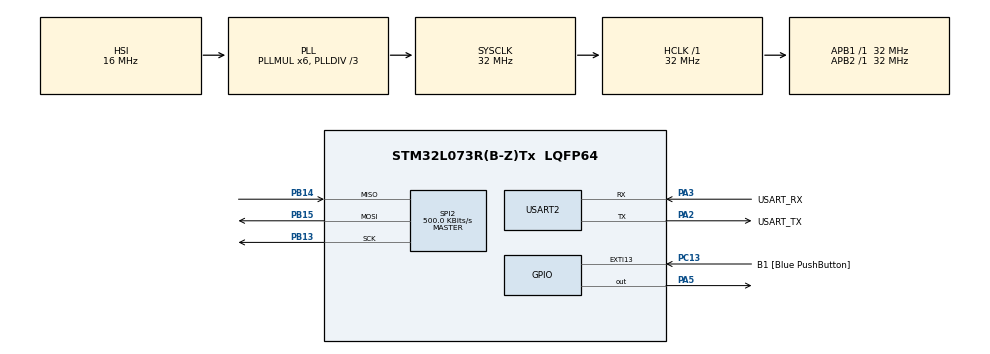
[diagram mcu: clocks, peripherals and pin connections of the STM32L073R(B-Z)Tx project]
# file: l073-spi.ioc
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Dma.Request0=SPI2_RX
Dma.Request1=SPI2_TX
Dma.SPI2_RX.0.Direction=DMA_PERIPH_TO_MEMORY
Dma.SPI2_RX.0.Instance=DMA1_Channel4
Dma.SPI2_RX.0.MemDataAlignment=DMA_MDATAALIGN_BYTE
Dma.SPI2_RX.0.MemInc=DMA_MINC_ENABLE
Dma.SPI2_RX.0.Mode=DMA_CIRCULAR
Dma.SPI2_RX.0.PeriphDataAlignment=DMA_PDATAALIGN_BYTE
Dma.SPI2_RX.0.PeriphInc=DMA_PINC_DISABLE
Dma.SPI2_RX.0.Priority=DMA_PRIORITY_LOW
Dma.SPI2_TX.1.Direction=DMA_MEMORY_TO_PERIPH
Dma.SPI2_TX.1.Instance=DMA1_Channel5
Dma.SPI2_TX.1.MemDataAlignment=DMA_MDATAALIGN_BYTE
Dma.SPI2_TX.1.MemInc=DMA_MINC_ENABLE
Dma.SPI2_TX.1.Mode=DMA_CIRCULAR
Dma.SPI2_TX.1.PeriphDataAlignment=DMA_PDATAALIGN_BYTE
Dma.SPI2_TX.1.PeriphInc=DMA_PINC_DISABLE
Dma.SPI2_TX.1.Priority=DMA_PRIORITY_LOW
Mcu.Family=STM32L0
Mcu.Name=STM32L073R(B-Z)Tx
Mcu.Package=LQFP64
NVIC.DMA1_Channel4_5_6_7_IRQn=true\:0\:0\:false\:false\:true\:false\:true
NVIC.SPI2_IRQn=true\:0\:0\:false\:false\:true\:true\:true
PA13.GPIO_Label=TMS
PA13.Mode=Serial_Wire
PA13.Signal=SYS_SWDIO
PA14.GPIO_Label=TCK
PA14.Mode=Serial_Wire
PA14.Signal=SYS_SWCLK
PA2.GPIO_Label=USART_TX
PA2.Mode=Asynchronous
PA2.Signal=USART2_TX
PA3.GPIO_Label=USART_RX
PA3.Mode=Asynchronous
PA3.Signal=USART2_RX
PA5.Signal=GPIO_Output
PB13.Mode=Full_Duplex_Master
PB13.Signal=SPI2_SCK
PB14.Mode=Full_Duplex_Master
PB14.Signal=SPI2_MISO
PB15.Mode=Full_Duplex_Master
PB15.Signal=SPI2_MOSI
PC13.GPIO_Label=B1 [Blue PushButton]
PC13.GPIO_ModeDefaultEXTI=GPIO_MODE_IT_FALLING
PC13.Signal=GPXTI13
PC14-OSC32_IN.Mode=LSE-External-Oscillator
PC14-OSC32_IN.Signal=RCC_OSC32_IN
PC15-OSC32_OUT.Mode=LSE-External-Oscillator
PC15-OSC32_OUT.Signal=RCC_OSC32_OUT
PH0-OSC_IN.GPIO_Label=MCO
PH0-OSC_IN.Mode=HSE-External-Clock-Source
PH0-OSC_IN.Signal=RCC_OSC_IN
ProjectManager.HeapSize=0x200
ProjectManager.StackSize=0x400
ProjectManager.TargetToolchain=STM32CubeIDE
RCC.AHBFreq_Value=32000000
RCC.APB1Freq_Value=32000000
RCC.APB1TimFreq_Value=32000000
RCC.APB2Freq_Value=32000000
RCC.APB2TimFreq_Value=32000000
RCC.CSICalibrationValue=16
RCC.HCLKFreq_Value=32000000
RCC.HSE_VALUE=8000000
RCC.HSI16_VALUE=16000000
RCC.HSI48_VALUE=48000000
RCC.HSI_VALUE=16000000
RCC.MSIAutoCalibration=DISABLED
RCC.MSI_VALUE=2097000
RCC.PLL1_VCI_Range=RCC_PLL1VCIRANGE_3
RCC.PLL1_VCO_SEL=RCC_PLL1VCOMEDIUM
RCC.PLL2FRACN=0
RCC.PLL2_VCI_Range=RCC_PLL2VCIRANGE_3
RCC.PLL2_VCO_SEL=RCC_PLL2VCOWIDE
RCC.PLL3FRACN=0
RCC.PLL3_VCI_Range=RCC_PLL3VCIRANGE_3
RCC.PLL3_VCO_SEL=RCC_PLL3VCOMEDIUM
RCC.PLLDIV=RCC_PLLDIV_3
RCC.PLLFRACN=0
RCC.PLLMUL=RCC_PLLMUL_6
RCC.ProductRev=revY
RCC.RCC_TIM_PRescaler_Selection=RCC_TIMPRES_DESACTIVATED
RCC.SYSCLKFreq_VALUE=32000000
RCC.SYSCLKSource=RCC_SYSCLKSOURCE_PLLCLK
RCC.VCOOutputFreq_Value=96000000
SPI2.BaudRatePrescaler=SPI_BAUDRATEPRESCALER_64
SPI2.CalculateBaudRate=500.0 KBits/s
SPI2.Direction=SPI_DIRECTION_2LINES
SPI2.Mode=SPI_MODE_MASTER
SPI2.VirtualType=VM_MASTER
USART2.VirtualMode-Asynchronous=VM_ASYNC
board=NUCLEO-L073RZ

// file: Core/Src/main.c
/* USER CODE BEGIN Header */
/**
 ******************************************************************************
 * @file           : main.c
 * @brief          : Main program body
 ******************************************************************************
 * @attention
 *
 * <h2><center>&copy; Copyright (c) 2021 STMicroelectronics.
 * All rights reserved.</center></h2>
 *
 * This software component is licensed by ST under BSD 3-Clause license,
 * the "License"; You may not use this file except in compliance with the
 * License. You may obtain a copy of the License at:
 *                        opensource.org/licenses/BSD-3-Clause
 *
 ******************************************************************************
 */
/* USER CODE END Header */
#include "main.h"

/* USER CODE BEGIN PD */

/* Size of buffer */
#define BUFFERSIZE                       (COUNTOF(aTxBuffer) - 1)

/* Exported macro ------------------------------------------------------------*/
#define COUNTOF(__BUFFER__)   (sizeof(__BUFFER__) / sizeof(*(__BUFFER__)))
/* Exported functions ------------------------------------------------------- */

enum {
	TRANSFER_WAIT,
	TRANSFER_COMPLETE,
	TRANSFER_ERROR
};

/* Uncomment this line to use the board as master, if not it is used as slave */

/*************************************************/
/*************************************************/
/*********** MASTER / SLAVE **********************/
/*************************************************/
/*************************************************/
/*************************************************/

//#define MASTER_BOARD

/* Size of buffer */
/* Buffer used for transmission */
uint8_t aTxBuffer[] = "****SPI - Two Boards communication based on Interrupt **** SPI Message ******** SPI Message ******** SPI Message ****";

/* Buffer used for reception */
uint8_t aRxBuffer[BUFFERSIZE];

/* transfer state */
__IO uint32_t wTransferState = TRANSFER_WAIT;

/* USER CODE END PD */

SPI_HandleTypeDef hspi2;
DMA_HandleTypeDef hdma_spi2_rx;
DMA_HandleTypeDef hdma_spi2_tx;

UART_HandleTypeDef huart2;

void SystemClock_Config(void);
static void MX_GPIO_Init(void);
static void MX_USART2_UART_Init(void);
static void MX_DMA_Init(void);
static void MX_SPI2_Init(void);
/* USER CODE BEGIN PFP */
static uint16_t Buffercmp(uint8_t *pBuffer1, uint8_t *pBuffer2, uint16_t BufferLength);

/* USER CODE END PFP */

/* USER CODE BEGIN 0 */
/**
 * @brief  Compares two buffers.
 * @param  pBuffer1, pBuffer2: buffers to be compared.
 * @param  BufferLength: buffer's length
 * @retval 0  : pBuffer1 identical to pBuffer2
 *         >0 : pBuffer1 differs from pBuffer2
 */
static uint16_t Buffercmp(uint8_t* pBuffer1, uint8_t* pBuffer2, uint16_t BufferLength)
{
	while (BufferLength--)
	{
		if((*pBuffer1) != *pBuffer2)
		{
			return BufferLength;
		}
		pBuffer1++;
		pBuffer2++;
	}

	return 0;
}

/* USER CODE END 0 */

int main(void)
{

  /* MCU Configuration--------------------------------------------------------*/

  /* Reset of all peripherals, Initializes the Flash interface and the Systick. */
  HAL_Init();

  /* Configure the system clock */
  SystemClock_Config();

  /* Initialize all configured peripherals */
  MX_GPIO_Init();
  MX_USART2_UART_Init();
  MX_DMA_Init();
  MX_SPI2_Init();
  /* USER CODE BEGIN 2 */
#ifdef MASTER_BOARD
	/* Wait for User push-button press before starting the Communication */
	while (HAL_GPIO_ReadPin(GPIOC, GPIO_PIN_13) != GPIO_PIN_RESET)
	{
		HAL_GPIO_TogglePin(GPIOA, GPIO_PIN_5);
		HAL_Delay(100);
	}
	HAL_GPIO_WritePin(GPIOA, GPIO_PIN_5, GPIO_PIN_RESET);
	if(HAL_SPI_Transmit_DMA(&hspi2,(uint8_t*)aTxBuffer, BUFFERSIZE) != HAL_OK)
	{
		/* Transfer error in transmission process */
		Error_Handler();
	}
	/*END MASTER_BOARD */
#else/* SLAVE_BOARD */

	if(HAL_SPI_Receive_DMA(&hspi2,(uint8_t *)aRxBuffer, BUFFERSIZE) != HAL_OK)
	{
		/* Transfer error in transmission process */
		Error_Handler();
	}

	while (wTransferState == TRANSFER_WAIT)
	{
	}
	HAL_GPIO_WritePin(GPIOA, GPIO_PIN_5, GPIO_PIN_SET);

	switch(wTransferState)
	{
	case TRANSFER_COMPLETE :
		/*##-4- Compare the sent and received buffers ##############################*/
		if(Buffercmp((uint8_t*)aTxBuffer, (uint8_t*)aRxBuffer, BUFFERSIZE))
		{
			/* Processing Error */
			Error_Handler();
		}
		break;
	default :
		Error_Handler();
		break;
	}
	HAL_Delay(3000);
#endif

	/*##-2- Start the Full Duplex Communication process ########################*/
	/* While the SPI in TransmitReceive process, user can transmit data through
     "aTxBuffer" buffer & receive data through "aRxBuffer" */

	/*##-3- Wait for the end of the transfer ###################################*/
	/*  Before starting a new communication transfer, you must wait the callback call
      to get the transfer complete confirmation or an error detection.
      For simplicity reasons, this example is just waiting till the end of the
      transfer, but application may perform other tasks while transfer operation
      is ongoing. */

  /* USER CODE END 2 */

  /* Infinite loop */
  /* USER CODE BEGIN WHILE */
	while (1)
	{
//#ifdef MASTER_BOARD
		//#endif

		HAL_GPIO_TogglePin(GPIOA, GPIO_PIN_5);
		HAL_Delay(500);

    /* USER CODE END WHILE */

	}
}

void SystemClock_Config(void)
{
  RCC_OscInitTypeDef RCC_OscInitStruct = {0};
  RCC_ClkInitTypeDef RCC_ClkInitStruct = {0};
  RCC_PeriphCLKInitTypeDef PeriphClkInit = {0};

  /** Configure the main internal regulator output voltage
  */
  __HAL_PWR_VOLTAGESCALING_CONFIG(PWR_REGULATOR_VOLTAGE_SCALE1);
  /** Initializes the RCC Oscillators according to the specified parameters
  * in the RCC_OscInitTypeDef structure.
  */
  RCC_OscInitStruct.OscillatorType = RCC_OSCILLATORTYPE_HSI;
  RCC_OscInitStruct.HSIState = RCC_HSI_ON;
  RCC_OscInitStruct.HSICalibrationValue = RCC_HSICALIBRATION_DEFAULT;
  RCC_OscInitStruct.PLL.PLLState = RCC_PLL_ON;
  RCC_OscInitStruct.PLL.PLLSource = RCC_PLLSOURCE_HSI;
  RCC_OscInitStruct.PLL.PLLMUL = RCC_PLLMUL_6;
  RCC_OscInitStruct.PLL.PLLDIV = RCC_PLLDIV_3;
  if (HAL_RCC_OscConfig(&RCC_OscInitStruct) != HAL_OK)
  {
    Error_Handler();
  }
  /** Initializes the CPU, AHB and APB buses clocks
  */
  RCC_ClkInitStruct.ClockType = RCC_CLOCKTYPE_HCLK|RCC_CLOCKTYPE_SYSCLK
                              |RCC_CLOCKTYPE_PCLK1|RCC_CLOCKTYPE_PCLK2;
  RCC_ClkInitStruct.SYSCLKSource = RCC_SYSCLKSOURCE_PLLCLK;
  RCC_ClkInitStruct.AHBCLKDivider = RCC_SYSCLK_DIV1;
  RCC_ClkInitStruct.APB1CLKDivider = RCC_HCLK_DIV1;
  RCC_ClkInitStruct.APB2CLKDivider = RCC_HCLK_DIV1;

  if (HAL_RCC_ClockConfig(&RCC_ClkInitStruct, FLASH_LATENCY_1) != HAL_OK)
  {
    Error_Handler();
  }
  PeriphClkInit.PeriphClockSelection = RCC_PERIPHCLK_USART2;
  PeriphClkInit.Usart2ClockSelection = RCC_USART2CLKSOURCE_PCLK1;
  if (HAL_RCCEx_PeriphCLKConfig(&PeriphClkInit) != HAL_OK)
  {
    Error_Handler();
  }
}

static void MX_SPI2_Init(void)
{

  /* SPI2 parameter configuration*/
  hspi2.Instance = SPI2;
  hspi2.Init.Mode = SPI_MODE_MASTER;
  hspi2.Init.Direction = SPI_DIRECTION_2LINES;
  hspi2.Init.DataSize = SPI_DATASIZE_8BIT;
  hspi2.Init.CLKPolarity = SPI_POLARITY_LOW;
  hspi2.Init.CLKPhase = SPI_PHASE_1EDGE;
  hspi2.Init.NSS = SPI_NSS_SOFT;
  hspi2.Init.BaudRatePrescaler = SPI_BAUDRATEPRESCALER_64;
  hspi2.Init.FirstBit = SPI_FIRSTBIT_MSB;
  hspi2.Init.TIMode = SPI_TIMODE_DISABLE;
  hspi2.Init.CRCCalculation = SPI_CRCCALCULATION_DISABLE;
  hspi2.Init.CRCPolynomial = 7;
  if (HAL_SPI_Init(&hspi2) != HAL_OK)
  {
    Error_Handler();
  }
  /* USER CODE BEGIN SPI2_Init 2 */
#ifdef MASTER_BOARD
	hspi2.Init.Mode = SPI_MODE_MASTER;
#else
	hspi2.Init.Mode = SPI_MODE_SLAVE;
#endif /* MASTER_BOARD */

	if(HAL_SPI_Init(&hspi2) != HAL_OK)
	{
		/* Initialization Error */
		Error_Handler();
	}
  /* USER CODE END SPI2_Init 2 */

}

static void MX_USART2_UART_Init(void)
{

  huart2.Instance = USART2;
  huart2.Init.BaudRate = 115200;
  huart2.Init.WordLength = UART_WORDLENGTH_8B;
  huart2.Init.StopBits = UART_STOPBITS_1;
  huart2.Init.Parity = UART_PARITY_NONE;
  huart2.Init.Mode = UART_MODE_TX_RX;
  huart2.Init.HwFlowCtl = UART_HWCONTROL_NONE;
  huart2.Init.OverSampling = UART_OVERSAMPLING_16;
  huart2.Init.OneBitSampling = UART_ONE_BIT_SAMPLE_DISABLE;
  huart2.AdvancedInit.AdvFeatureInit = UART_ADVFEATURE_NO_INIT;
  if (HAL_UART_Init(&huart2) != HAL_OK)
  {
    Error_Handler();
  }

}

static void MX_DMA_Init(void)
{

  /* DMA controller clock enable */
  __HAL_RCC_DMA1_CLK_ENABLE();

  /* DMA interrupt init */
  /* DMA1_Channel4_5_6_7_IRQn interrupt configuration */
  HAL_NVIC_SetPriority(DMA1_Channel4_5_6_7_IRQn, 0, 0);
  HAL_NVIC_EnableIRQ(DMA1_Channel4_5_6_7_IRQn);

}

static void MX_GPIO_Init(void)
{
  GPIO_InitTypeDef GPIO_InitStruct = {0};

  /* GPIO Ports Clock Enable */
  __HAL_RCC_GPIOC_CLK_ENABLE();
  __HAL_RCC_GPIOH_CLK_ENABLE();
  __HAL_RCC_GPIOA_CLK_ENABLE();
  __HAL_RCC_GPIOB_CLK_ENABLE();

  /*Configure GPIO pin Output Level */
  HAL_GPIO_WritePin(GPIOA, GPIO_PIN_5, GPIO_PIN_RESET);

  /*Configure GPIO pin : B1_Pin */
  GPIO_InitStruct.Pin = B1_Pin;
  GPIO_InitStruct.Mode = GPIO_MODE_IT_FALLING;
  GPIO_InitStruct.Pull = GPIO_NOPULL;
  HAL_GPIO_Init(B1_GPIO_Port, &GPIO_InitStruct);

  /*Configure GPIO pin : PA5 */
  GPIO_InitStruct.Pin = GPIO_PIN_5;
  GPIO_InitStruct.Mode = GPIO_MODE_OUTPUT_PP;
  GPIO_InitStruct.Pull = GPIO_NOPULL;
  GPIO_InitStruct.Speed = GPIO_SPEED_FREQ_LOW;
  HAL_GPIO_Init(GPIOA, &GPIO_InitStruct);

}

/* USER CODE BEGIN 4 */
/**
 * @brief  TxRx Transfer completed callback.
 * @param  hspi: SPI handle
 * @note   This example shows a simple way to report end of Interrupt TxRx transfer, and
 *         you can add your own implementation.
 * @retval None
 */
void HAL_SPI_RxCpltCallback(SPI_HandleTypeDef *hspi)
{
	/* Turn LED on: Transfer in transmission/reception process is correct */
//	HAL_GPIO_WritePin(GPIOA, GPIO_PIN_5, GPIO_PIN_SET);
	wTransferState = TRANSFER_COMPLETE;
}

/**
 * @brief  SPI error callbacks.
 * @param  hspi: SPI handle
 * @note   This example shows a simple way to report transfer error, and you can
 *         add your own implementation.
 * @retval None
 */
void HAL_SPI_ErrorCallback(SPI_HandleTypeDef *hspi)
{
	wTransferState = TRANSFER_ERROR;
}

/* USER CODE END 4 */

void Error_Handler(void)
{
  /* USER CODE BEGIN Error_Handler_Debug */
	/* User can add his own implementation to report the HAL error return state */
	__disable_irq();
	while(1)
	{
		/* Toggle LED2 */
		HAL_GPIO_TogglePin(GPIOA, GPIO_PIN_5);
		HAL_Delay(1000);
	}
  /* USER CODE END Error_Handler_Debug */
}

/************************ (C) COPYRIGHT STMicroelectronics *****END OF FILE****/
